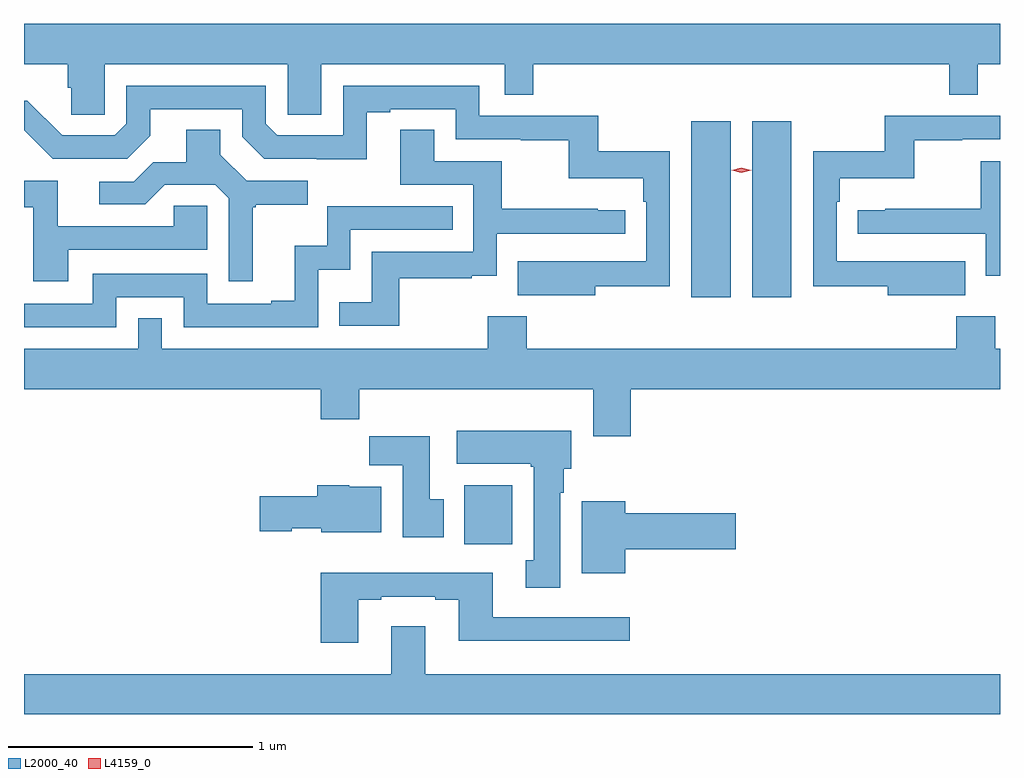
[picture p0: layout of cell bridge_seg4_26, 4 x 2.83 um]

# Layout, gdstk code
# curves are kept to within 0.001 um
import gdstk
lib = gdstk.Library(unit=1e-6, precision=1e-09)
def R(c, l, rs):  # rectangles x0, y0, x1, y1
    for r in rs: c.add(gdstk.rectangle(r[:2], r[2:], *l))
def P(c, l, *ps):  # polygons
    for p in ps: c.add(gdstk.Polygon(p, *l))
L2000_40 = (2000, 40)
L4159_0 = (4159, 0)

bridge_seg4_26 = lib.new_cell('bridge_seg4_26')
R(bridge_seg4_26, L2000_40, [(998.231,826.82,998.428,827.062), (999.161,827.832,999.322,828.553), (999.41,827.832,999.571,828.553)])
P(bridge_seg4_26, L2000_40, [(996.756,828.788),(997.506,828.788),(997.506,828.58),(997.645,828.58),(997.645,828.788),(998.397,828.788),(998.397,828.661),(998.513,828.661),(998.513,828.788),(1000.219,828.788),(1000.219,828.661),(1000.335,828.661),(1000.335,828.788),(1000.426,828.788),(1000.426,828.952),(996.426,828.952),(996.426,828.788),(996.605,828.788),(996.605,828.69),(996.619,828.69),(996.619,828.58),(996.756,828.58)],
  [(998.767,827.878),(999.072,827.878),(999.072,828.43),(998.779,828.43),(998.779,828.576),(998.292,828.576),(998.292,828.699),(997.734,828.699),(997.734,828.495),(997.464,828.495),(997.416,828.543),(997.416,828.699),(996.846,828.699),(996.846,828.543),(996.798,828.495),(996.582,828.495),(996.44,828.637),(996.426,828.637),(996.426,828.516),(996.543,828.399),(996.849,828.399),(996.943,828.493),(996.943,828.603),(997.32,828.603),(997.32,828.489),(997.41,828.399),(997.831,828.398),(997.831,828.591),(997.927,828.591),(997.927,828.603),(998.196,828.603),(998.196,828.48),(998.461,828.48),(998.461,828.475),(998.658,828.475),(998.658,828.32),(998.963,828.32),(998.963,828.224),(998.976,828.224),(998.976,827.979),(998.449,827.98),(998.449,827.84),(998.767,827.84)],
  [(1000.283,827.98),(1000.069,827.98),(1000.069,827.979),(999.756,827.979),(999.756,828.224),(999.77,828.224),(999.77,828.32),(1000.075,828.32),(1000.075,828.475),(1000.271,828.475),(1000.271,828.48),(1000.426,828.48),(1000.426,828.576),(999.954,828.576),(999.954,828.43),(999.66,828.43),(999.66,827.878),(999.965,827.878),(999.965,827.84),(1000.283,827.84)],
  [(997.363,828.201),(997.375,828.201),(997.375,828.212),(997.588,828.212),(997.588,828.309),(997.338,828.309),(997.231,828.416),(997.231,828.518),(997.091,828.518),(997.091,828.386),(996.956,828.386),(996.876,828.306),(996.735,828.306),(996.735,828.213),(996.922,828.213),(997.003,828.294),(997.209,828.294),(997.266,828.237),(997.266,827.898),(997.363,827.898)],
  [(997.963,827.91),(998.261,827.91),(998.261,827.921),(998.364,827.921),(998.364,828.093),(998.89,828.093),(998.89,828.189),(998.777,828.189),(998.777,828.194),(998.384,828.194),(998.384,828.39),(998.107,828.39),(998.107,828.518),(997.967,828.518),(997.967,828.294),(998.268,828.294),(998.268,828.018),(997.852,828.018),(997.852,827.812),(997.717,827.812),(997.717,827.715),(997.963,827.715)],
  [(1000.426,828.39),(1000.348,828.39),(1000.348,828.194),(999.955,828.194),(999.955,828.189),(999.843,828.189),(999.843,828.093),(1000.368,828.093),(1000.368,827.921),(1000.426,827.921)],
  [(996.607,828.027),(997.176,828.027),(997.176,828.207),(997.039,828.207),(997.039,828.123),(996.565,828.123),(996.565,828.309),(996.426,828.309),(996.426,828.201),(996.463,828.201),(996.463,827.898),(996.607,827.898)],
  [(996.804,827.832),(997.08,827.832),(997.08,827.709),(997.632,827.709),(997.632,827.945),(997.764,827.945),(997.764,828.108),(998.183,828.108),(998.183,828.204),(997.668,828.204),(997.668,828.043),(997.535,828.043),(997.535,827.818),(997.439,827.818),(997.439,827.805),(997.176,827.805),(997.176,827.928),(996.708,827.928),(996.708,827.805),(996.426,827.805),(996.426,827.709),(996.804,827.709)],
  [(998.912,827.456),(1000.426,827.456),(1000.426,827.62),(1000.407,827.62),(1000.407,827.755),(1000.247,827.755),(1000.247,827.62),(998.486,827.62),(998.486,827.755),(998.326,827.755),(998.326,827.62),(996.99,827.62),(996.99,827.747),(996.894,827.747),(996.894,827.62),(996.426,827.62),(996.426,827.456),(997.643,827.456),(997.643,827.332),(997.799,827.332),(997.799,827.456),(998.759,827.456),(998.759,827.262),(998.912,827.262)],
  [(998.623,827.03),(998.638,827.03),(998.638,827.13),(998.668,827.13),(998.668,827.284),(998.199,827.284),(998.199,827.15),(998.503,827.15),(998.503,827.137),(998.516,827.137),(998.516,826.754),(998.483,826.754),(998.483,826.641),(998.623,826.641)],
  [(998.146,827.004),(998.089,827.004),(998.089,827.263),(997.84,827.263),(997.84,827.144),(997.979,827.144),(997.979,826.848),(998.146,826.848)],
  [(997.891,827.056),(997.758,827.056),(997.758,827.062),(997.628,827.062),(997.628,827.016),(997.392,827.016),(997.392,826.874),(997.524,826.874),(997.524,826.886),(997.644,826.886),(997.644,826.868),(997.891,826.868)],
  [(998.89,826.799),(999.343,826.799),(999.343,826.946),(998.89,826.946),(998.89,826.996),(998.711,826.996),(998.711,826.7),(998.89,826.7)],
  [(997.795,826.593),(997.891,826.593),(997.891,826.605),(998.111,826.605),(998.111,826.593),(998.207,826.593),(998.207,826.424),(998.908,826.424),(998.908,826.521),(998.347,826.521),(998.347,826.702),(997.643,826.702),(997.643,826.416),(997.795,826.416)],
  [(1000.426,826.288),(998.071,826.288),(998.071,826.483),(997.931,826.483),(997.931,826.288),(996.426,826.288),(996.426,826.124),(1000.426,826.124)])
P(bridge_seg4_26, L4159_0, [(999.366,828.342),(999.326,828.352),(999.326,828.352),(999.326,828.352),(999.366,828.362),(999.406,828.352),(999.406,828.352),(999.406,828.352)])

lib.write_gds('bridge_seg4_26.gds')
